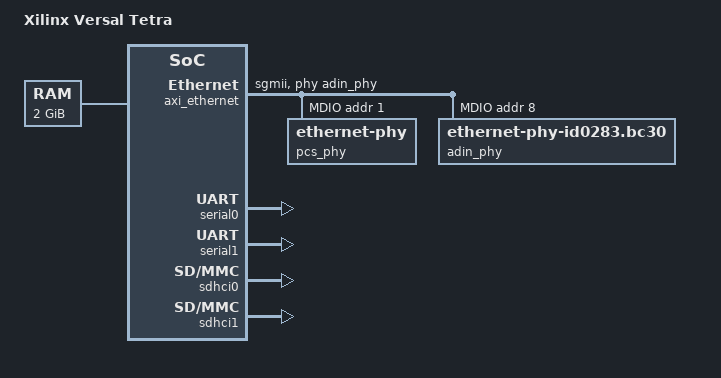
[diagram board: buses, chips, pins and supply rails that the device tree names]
// SPDX-License-Identifier: GPL-2.0
/*
 * dts file for Xilinx Versal Tetra
 *
 * (C) Copyright 2026, Analog Devices Inc.
 */

#include "versal.dtsi"
#include "versal-clk.dtsi"

/ {
	compatible = "xlnx,versal-tetra", "xlnx,versal";
	model = "Xilinx Versal Tetra";

	memory: memory@0 {
		device_type = "memory";
		reg = <0 0 0 0x80000000>;  /* 2GB */
	};

	chosen {
		bootargs = "console=ttyAMA1,115200 earlycon=pl011,mmio32,0xFF010000,115200n8 root=/dev/mmcblk0p2 rw rootfstype=ext4 rootwait";
		stdout-path = "serial1:115200";
	};

	aliases {
		serial0 = &serial0;
		serial1 = &serial1;
		mmc0 = &sdhci0;
		mmc1 = &sdhci1;
		/* ethernet0 = &axi_ethernet; */
	};
};

&serial0 {
	status = "okay";
};

&serial1 {
	status = "okay";
};

/* Enable SD card controllers */
&sdhci0 {
	status = "okay";
	xlnx,mio-bank = <0>;
	no-1-8-v;
};

&sdhci1 {
	status = "okay";
	xlnx,mio-bank = <1>;
	no-1-8-v;
};

/* Disable PS Ethernet */
&gem0 {
	status = "disabled";
};

&gem1 {
	status = "disabled";
};

/* PL clocks */
/ {
	misc_clk_0: misc_clk_0 {
		#clock-cells = <0>;
		clock-frequency = <125000000>;
		compatible = "fixed-clock";
	};

};

/* PL AXI bus */
/ {
	amba_pl: amba_pl {
		#address-cells = <2>;
		#size-cells = <2>;
		compatible = "simple-bus";
		ranges;

		// axi_ethernet: ethernet@a5e00000 {
		// 	axistream-connected = <&axi_ethernet_dma>;
		// 	axistream-control-connected = <&axi_ethernet_dma>;
		// 	clock-frequency = <100000000>;
		// 	clock-names = "axis_clk", "clk125m", "s_axi_lite_clk";
		// 	clocks = <&versal_clk 65>, <&misc_clk_0>, <&versal_clk 65>;
		// 	compatible = "xlnx,axi-ethernet-7.2", "xlnx,axi-ethernet-1.00.a";
		// 	device_type = "network";
		// 	interrupt-names = "interrupt";
		// 	interrupt-parent = <&gic>;
		// 	interrupts = <0 85 4>;
		// 	local-mac-address = [00 0a 35 00 00 00];
		// 	managed = "in-band-status";
		// 	max-speed = <0x3e8>;
		// 	pcs-handle = <&axi_ethernetphy1>;
		// 	phy-mode = "sgmii";
		// 	reg = <0x0 0xa5e00000 0x0 0x40000>;
		// 	xlnx = <0x0>;
		// 	xlnx,axiliteclkrate = <0x0>;
		// 	xlnx,axisclkrate = <0x0>;
		// 	xlnx,channel-ids = "1";
		// 	xlnx,clockselection = <0x0>;
		// 	xlnx,enableasyncsgmii = <0x0>;
		// 	xlnx,gt-type = <0x0>;
		// 	xlnx,gtinex = <0x0>;
		// 	xlnx,gtlocation = <0x0>;
		// 	xlnx,gtrefclksrc = <0x0>;
		// 	xlnx,include-dre;
		// 	xlnx,instantiatebitslice0 = <0x0>;
		// 	xlnx,num-queues = /bits/ 16 <0x1>;
		// 	xlnx,phyaddr = <0x1>;
		// 	xlnx,phyrst-board-interface-dummy-port = <0x0>;
		// 	xlnx,rable = <0x0>;
		// 	xlnx,rxcsum = <0x2>;
		// 	xlnx,rxlane0-placement = <0x0>;
		// 	xlnx,rxlane1-placement = <0x0>;
		// 	xlnx,rxmem = <0x2000>;
		// 	xlnx,rxnibblebitslice0used = <0x0>;
		// 	xlnx,switch-x-sgmii;
		// 	xlnx,tx-in-upper-nibble = <0x1>;
		// 	xlnx,txcsum = <0x2>;
		// 	xlnx,txlane0-placement = <0x0>;
		// 	xlnx,txlane1-placement = <0x0>;
		// 	xlnx,versal-gt-board-flow = <0x0>;
		// 	zclock-names = "NULL";
		// 	zclocks = "NULL";
		// 	axi_ethernet_mdio: mdio {
		// 		#address-cells = <1>;
		// 		#size-cells = <0>;
		// 		axi_ethernetphy1: phy@0 {
		// 			device_type = "ethernet-phy";
		// 			reg = <0>;
		// 		};
		// 	};
		// };

		// /* Minimal config - just MDIO to verify PHY IDs */
		// axi_ethernet: ethernet@a5e00000 {
		// 	compatible = "xlnx,axi-ethernet-7.2", "xlnx,axi-ethernet-1.00.a";
		// 	reg = <0x0 0xa5e00000 0x0 0x40000>;
		// 	clock-frequency = <100000000>;
		// 	xlnx,include-dre;
		// 	xlnx,rxmem = <0x2000>;

		// 	axi_ethernet_mdio: mdio {
		// 		#address-cells = <1>;
		// 		#size-cells = <0>;

		// 		/* PCS at address 1 */
		// 		pcs_phy: ethernet-phy@1 {
		// 			reg = <1>;
		// 		};

		// 		/* ADIN at address 0 */
		// 		adin_phy: ethernet-phy@0 {
		// 			reg = <0>;
		// 			compatible = "ethernet-phy-id0283.bc30";
		// 		};
		// 	};
		// };

		/* Full ethernet config - uncomment when PHY IDs verified */
		axi_ethernet: ethernet@a5e00000 {
			axistream-connected = <&axi_ethernet_dma>;
			axistream-control-connected = <&axi_ethernet_dma>;
			clock-frequency = <100000000>;
			clock-names = "axis_clk", "clk125m", "s_axi_lite_clk";
			clocks = <&versal_clk 65>, <&misc_clk_0>, <&versal_clk 65>;
			compatible = "xlnx,axi-ethernet-7.2", "xlnx,axi-ethernet-1.00.a";
			device_type = "network";
			interrupt-names = "interrupt";
			interrupt-parent = <&gic>;
			interrupts = <0 85 4>;
			local-mac-address = [00 0a 35 00 00 00];
			max-speed = <1000>;
			phy-mode = "sgmii";
			phy-handle = <&adin_phy>;
			pcs-handle = <&pcs_phy>;
			reg = <0x0 0xa5e00000 0x0 0x40000>;
			xlnx,axiliteclkrate = <0x0>;
			xlnx,axisclkrate = <0x0>;
			xlnx,channel-ids = "1";
			xlnx,clockselection = <0x0>;
			xlnx,enableasyncsgmii = <0x0>;
			xlnx,gt-type = <0x0>;
			xlnx,gtinex = <0x0>;
			xlnx,gtlocation = <0x0>;
			xlnx,gtrefclksrc = <0x0>;
			xlnx,include-dre;
			xlnx,instantiatebitslice0 = <0x0>;
			xlnx,num-queues = /bits/ 16 <0x1>;
			xlnx,phyaddr = <0x1>;
			xlnx,phyrst-board-interface-dummy-port = <0x0>;
			xlnx,rable = <0x0>;
			xlnx,rxcsum = <0x2>;
			xlnx,rxlane0-placement = <0x0>;
			xlnx,rxlane1-placement = <0x0>;
			xlnx,rxmem = <0x2000>;
			xlnx,rxnibblebitslice0used = <0x0>;
			xlnx,switch-x-sgmii;
			xlnx,tx-in-upper-nibble = <0x1>;
			xlnx,txcsum = <0x2>;
			xlnx,txlane0-placement = <0x0>;
			xlnx,txlane1-placement = <0x0>;
			xlnx,versal-gt-board-flow = <0x0>;

			axi_ethernet_mdio: mdio {
				#address-cells = <1>;
				#size-cells = <0>;
				clock-frequency = <1000000>;

				pcs_phy: ethernet-phy@1 {
					reg = <1>;
				};

				adin_phy: ethernet-phy@8 {
					reg = <8>;
					compatible = "ethernet-phy-id0283.bc30";
				};
			};
		};

		axi_ethernet_dma: dma@a6e10000 {
			#dma-cells = <1>;
			axistream-connected = <&axi_ethernet>;
			axistream-control-connected = <&axi_ethernet>;
			clock-names = "m_axi_mm2s_aclk", "m_axi_s2mm_aclk", "m_axi_sg_aclk", "s_axi_lite_aclk";
			clocks = <&versal_clk 65>, <&versal_clk 65>, <&versal_clk 65>, <&versal_clk 65>;
			compatible = "xlnx,eth-dma";
			interrupt-names = "mm2s_introut", "s2mm_introut";
			interrupt-parent = <&gic>;
			interrupts = <0 86 4 0 87 4>;
			reg = <0x0 0xa6e10000 0x0 0x1000>;
			xlnx,addrwidth = /bits/ 8 <0x20>;
			xlnx,include-dre;
			xlnx,num-queues = /bits/ 16 <0x1>;
		};
		/* */
	};
};
